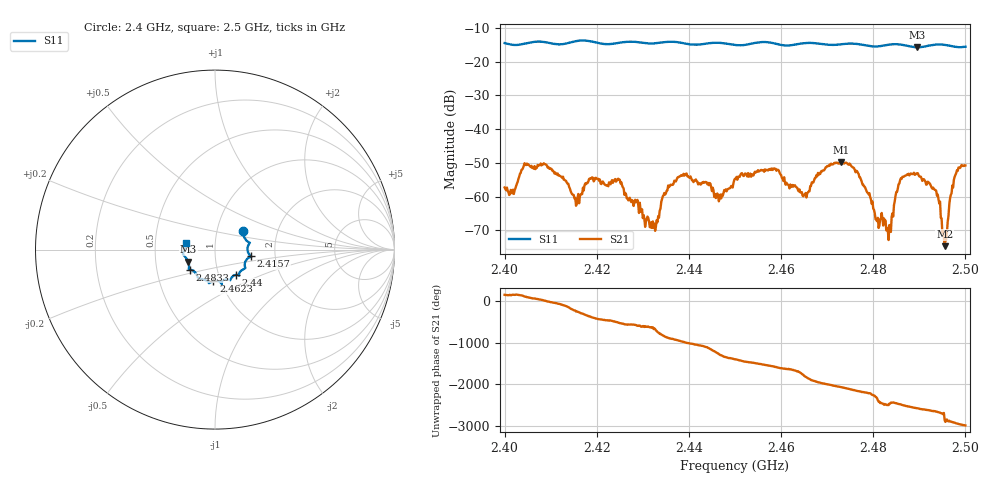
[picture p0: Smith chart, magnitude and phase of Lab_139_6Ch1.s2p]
# Hz S RI R 50
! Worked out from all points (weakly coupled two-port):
!   601 points, 2.4 GHz to 2.5 GHz, reference 50 ohm
!   highest |S21| = -49.77 dB at 2.473 GHz (marker M1); lowest = -74.7 dB at 2.4955 GHz (marker M2)
!   lowest |S11| = -15.7 dB at 2.4895 GHz (marker M3), VSWR 1.39, Z = 36.7 - j5.12 ohm
!   |S11| at or under -10 dB: start of sweep to end of sweep
!   S12 and S22 are empty: the file has one direction only
!   S11 on the Smith chart (normalised r, x): 2.4 GHz: 1.33, +0.29; 2.4157 GHz: 1.49, -0.12; 2.44 GHz: 1.21, -0.35; 2.4623 GHz: 0.92, -0.34; 2.4833 GHz: 0.74, -0.17; 2.5 GHz: 0.72, +0.05
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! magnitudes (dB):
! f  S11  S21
! 2.4 GHz  -14.5  -57.3
! 2.4087 GHz  -14.2  -50.4
! 2.4157 GHz  -13.9  -62.1
! 2.4167 GHz  -13.7  -59.1
! 2.4245 GHz  -14.5  -54.8
! 2.4305 GHz  -14.5  -69.0
! 2.4333 GHz  -14.4  -65.7
! 2.4357 GHz  -14.1  -57.2
! 2.44 GHz  -14.8  -54.3
! 2.4463 GHz  -14.4  -59.7
! 2.45 GHz  -15.0  -54.7
! 2.4583 GHz  -14.5  -51.8
! 2.4623 GHz  -15.1  -57.0
! 2.4667 GHz  -14.4  -55.8
! 2.473 GHz  -14.8  -49.8
! 2.4833 GHz  -15.0  -72.9
! 2.486 GHz  -14.9  -54.6
! 2.4895 GHz  -15.7  -53.1
! 2.4937 GHz  -14.9  -58.3
! 2.4955 GHz  -15.0  -74.7
! 2.4977 GHz  -15.6  -54.1
! 2.5 GHz  -15.6  -50.7
